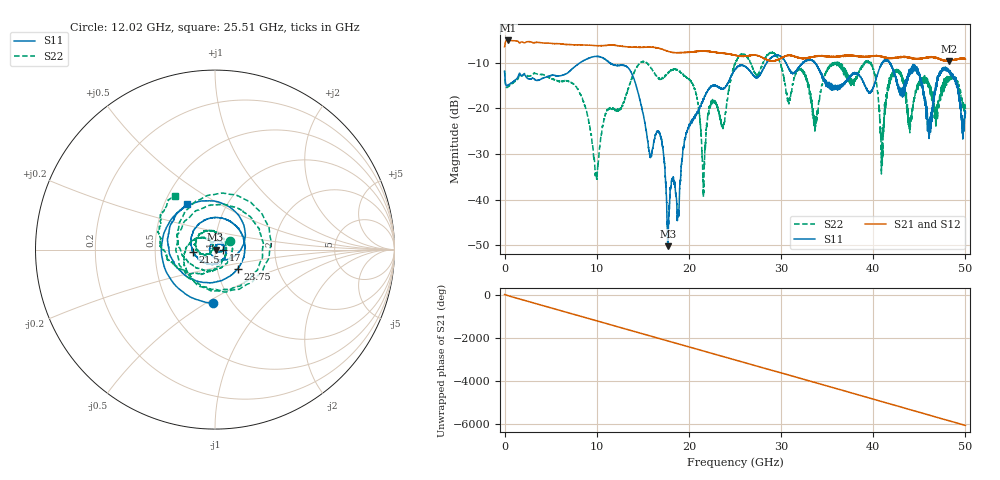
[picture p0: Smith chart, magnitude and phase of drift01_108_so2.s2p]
!Created with skrf (http://scikit-rf.org).
# Hz S RI R 50.0
!freq ReS11 ImS11 ReS21 ImS21 ReS12 ImS12 ReS22 ImS22
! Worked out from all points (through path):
!   10001 points, 300 kHz to 50 GHz, reference 50 ohm
!   highest |S21| = -5.05 dB at 410.3 MHz (marker M1); lowest = -9.6 dB at 48.24 GHz (marker M2)
!   group delay of S21, straight-line fit = 336 ps
!   lowest |S11| = -50.3 dB at 17.7 GHz (marker M3), VSWR 1.01, Z = 50.3 - j0.0504 ohm
!   |S11| at or under -10 dB: start of sweep to 8.162 GHz; 11.43 GHz to 28.42 GHz (16.99 GHz wide, 85.3 % of centre); 41.81 GHz to end of sweep (the widest 3 of 12)
!   |S22| runs from -39.5 to -7.7 dB; largest |S21 - S12| = 0.016
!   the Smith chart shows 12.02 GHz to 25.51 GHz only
!   S11 on the Smith chart (normalised r, x): 12.02 GHz: 0.82, -0.54; 17 GHz: 1.10, +0.00; 21.5 GHz: 0.78, -0.02; 23.75 GHz: 1.26, -0.28; 25.51 GHz: 0.65, +0.36
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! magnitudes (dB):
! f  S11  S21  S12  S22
! 300 kHz  -11.8  -6.5  -6.5  -11.7
! 410.3 MHz  -14.8  -5.1  -5.0  -15.2
! 8.335 GHz  -9.8  -6.0  -6.0  -17.5
! 9.945 GHz  -8.5  -6.2  -6.2  -34.5
! 12.02 GHz  -10.5  -6.1  -6.1  -20.4
! 16.67 GHz  -24.9  -6.7  -6.7  -13.3
! 17 GHz  -26.7  -6.9  -6.9  -13.6
! 17.7 GHz  -50.3  -7.4  -7.4  -12.3
! 20.5 GHz  -22.2  -7.5  -7.5  -15.0
! 21.5 GHz  -18.2  -7.4  -7.4  -33.8
! 22.45 GHz  -15.1  -7.5  -7.5  -18.7
! 23.75 GHz  -15.6  -7.8  -7.8  -23.8
! 25 GHz  -11.4  -8.3  -8.3  -10.3
! 25.51 GHz  -10.5  -8.5  -8.5  -8.6
! 33.34 GHz  -9.4  -8.7  -8.7  -19.5
! 39.49 GHz  -16.4  -8.5  -8.5  -9.9
! 40.95 GHz  -10.0  -8.5  -8.5  -28.6
! 41.67 GHz  -9.6  -8.8  -8.9  -14.7
! 44.75 GHz  -11.7  -9.1  -9.0  -15.6
! 46.11 GHz  -24.2  -8.8  -8.8  -15.2
! 48.24 GHz  -11.8  -9.6  -9.4  -13.0
! 50 GHz  -21.0  -9.2  -9.1  -20.1
